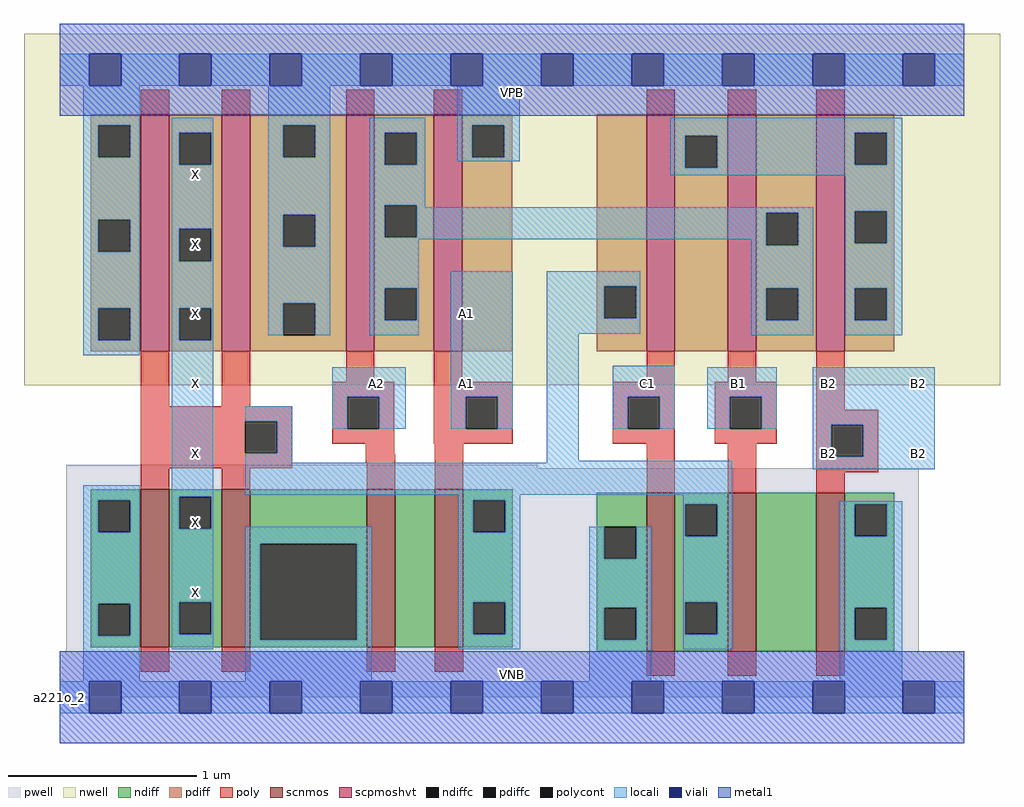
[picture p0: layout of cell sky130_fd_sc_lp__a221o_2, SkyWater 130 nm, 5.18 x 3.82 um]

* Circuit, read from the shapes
.subckt sky130_fd_sc_lp__a221o_2 A1 A2 B1 B2 C1 VGND VNB VPB VPWR X
XM1 X n1 VGND VNB sky130_fd_pr__nfet_01v8 w=0.84 l=0.15 m=2
XM2 n2 A2 VGND VNB sky130_fd_pr__nfet_01v8 w=0.84 l=0.15
XM3 n1 A1 n2 VNB sky130_fd_pr__nfet_01v8 w=0.84 l=0.15
XM4 n1 C1 VGND VNB sky130_fd_pr__nfet_01v8 w=0.84 l=0.15
XM5 n3 B1 n1 VNB sky130_fd_pr__nfet_01v8 w=0.84 l=0.15
XM6 VGND B2 n3 VNB sky130_fd_pr__nfet_01v8 w=0.84 l=0.15
XM7 X n1 VPWR VPB sky130_fd_pr__pfet_01v8_hvt w=1.26 l=0.15 m=2
XM8 n4 A2 VPWR VPB sky130_fd_pr__pfet_01v8_hvt w=1.26 l=0.15
XM9 VPWR A1 n4 VPB sky130_fd_pr__pfet_01v8_hvt w=1.26 l=0.15
XM10 n5 C1 n1 VPB sky130_fd_pr__pfet_01v8_hvt w=1.26 l=0.15
XM11 n4 B1 n5 VPB sky130_fd_pr__pfet_01v8_hvt w=1.26 l=0.15
XM12 n5 B2 n4 VPB sky130_fd_pr__pfet_01v8_hvt w=1.26 l=0.15
.ends

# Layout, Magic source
magic
tech sky130A
magscale 1 2
<< nwell >>
rect -38 331 998 704
<< pwell >>
rect 7 243 507 247
rect 7 49 912 243
rect 0 0 960 49
<< scnmos >>
rect 86 53 116 221
rect 172 53 202 221
rect 326 53 356 221
rect 398 53 428 221
rect 623 49 653 217
rect 709 49 739 217
rect 803 49 833 217
<< scpmoshvt >>
rect 86 367 116 619
rect 172 367 202 619
rect 304 367 334 619
rect 397 367 427 619
rect 623 367 653 619
rect 709 367 739 619
rect 803 367 833 619
<< ndiff >>
rect 33 209 86 221
rect 33 175 41 209
rect 75 175 86 209
rect 33 99 86 175
rect 33 65 41 99
rect 75 65 86 99
rect 33 53 86 65
rect 116 213 172 221
rect 116 179 127 213
rect 161 179 172 213
rect 116 101 172 179
rect 116 67 127 101
rect 161 67 172 101
rect 116 53 172 67
rect 202 163 326 221
rect 202 61 213 163
rect 315 61 326 163
rect 202 53 326 61
rect 356 53 398 221
rect 428 209 481 221
rect 428 175 439 209
rect 473 175 481 209
rect 428 101 481 175
rect 428 67 439 101
rect 473 67 481 101
rect 428 53 481 67
rect 570 181 623 217
rect 570 147 578 181
rect 612 147 623 181
rect 570 95 623 147
rect 570 61 578 95
rect 612 61 623 95
rect 570 49 623 61
rect 653 205 709 217
rect 653 171 664 205
rect 698 171 709 205
rect 653 101 709 171
rect 653 67 664 101
rect 698 67 709 101
rect 653 49 709 67
rect 739 49 803 217
rect 833 205 886 217
rect 833 171 844 205
rect 878 171 886 205
rect 833 95 886 171
rect 833 61 844 95
rect 878 61 886 95
rect 833 49 886 61
<< pdiff >>
rect 33 607 86 619
rect 33 573 41 607
rect 75 573 86 607
rect 33 507 86 573
rect 33 473 41 507
rect 75 473 86 507
rect 33 413 86 473
rect 33 379 41 413
rect 75 379 86 413
rect 33 367 86 379
rect 116 599 172 619
rect 116 565 127 599
rect 161 565 172 599
rect 116 497 172 565
rect 116 463 127 497
rect 161 463 172 497
rect 116 413 172 463
rect 116 379 127 413
rect 161 379 172 413
rect 116 367 172 379
rect 202 607 304 619
rect 202 573 237 607
rect 271 573 304 607
rect 202 512 304 573
rect 202 478 237 512
rect 271 478 304 512
rect 202 418 304 478
rect 202 384 237 418
rect 271 384 304 418
rect 202 367 304 384
rect 334 599 397 619
rect 334 565 345 599
rect 379 565 397 599
rect 334 522 397 565
rect 334 488 345 522
rect 379 488 397 522
rect 334 434 397 488
rect 334 400 345 434
rect 379 400 397 434
rect 334 367 397 400
rect 427 607 480 619
rect 427 573 438 607
rect 472 573 480 607
rect 427 367 480 573
rect 570 436 623 619
rect 570 402 578 436
rect 612 402 623 436
rect 570 367 623 402
rect 653 596 709 619
rect 653 562 664 596
rect 698 562 709 596
rect 653 367 709 562
rect 739 514 803 619
rect 739 480 750 514
rect 784 480 803 514
rect 739 434 803 480
rect 739 400 750 434
rect 784 400 803 434
rect 739 367 803 400
rect 833 599 886 619
rect 833 565 844 599
rect 878 565 886 599
rect 833 516 886 565
rect 833 482 844 516
rect 878 482 886 516
rect 833 434 886 482
rect 833 400 844 434
rect 878 400 886 434
rect 833 367 886 400
<< ndiffc >>
rect 41 175 75 209
rect 41 65 75 99
rect 127 179 161 213
rect 127 67 161 101
rect 213 61 315 163
rect 439 175 473 209
rect 439 67 473 101
rect 578 147 612 181
rect 578 61 612 95
rect 664 171 698 205
rect 664 67 698 101
rect 844 171 878 205
rect 844 61 878 95
<< pdiffc >>
rect 41 573 75 607
rect 41 473 75 507
rect 41 379 75 413
rect 127 565 161 599
rect 127 463 161 497
rect 127 379 161 413
rect 237 573 271 607
rect 237 478 271 512
rect 237 384 271 418
rect 345 565 379 599
rect 345 488 379 522
rect 345 400 379 434
rect 438 573 472 607
rect 578 402 612 436
rect 664 562 698 596
rect 750 480 784 514
rect 750 400 784 434
rect 844 565 878 599
rect 844 482 878 516
rect 844 400 878 434
<< poly >>
rect 86 619 116 645
rect 172 619 202 645
rect 304 619 334 645
rect 397 619 427 645
rect 623 619 653 645
rect 709 619 739 645
rect 803 619 833 645
rect 86 309 116 367
rect 172 309 202 367
rect 304 335 334 367
rect 397 335 427 367
rect 623 335 653 367
rect 709 335 739 367
rect 289 319 355 335
rect 86 293 247 309
rect 86 259 197 293
rect 231 259 247 293
rect 289 285 305 319
rect 339 285 355 319
rect 289 269 355 285
rect 397 319 481 335
rect 397 285 431 319
rect 465 285 481 319
rect 397 269 481 285
rect 587 319 653 335
rect 587 285 603 319
rect 637 285 653 319
rect 587 269 653 285
rect 695 319 761 335
rect 695 285 711 319
rect 745 285 761 319
rect 695 269 761 285
rect 803 305 833 367
rect 803 289 869 305
rect 86 243 247 259
rect 325 258 355 269
rect 325 249 356 258
rect 86 221 116 243
rect 172 221 202 243
rect 326 221 356 249
rect 398 221 428 269
rect 623 217 653 269
rect 709 217 739 269
rect 803 255 819 289
rect 853 255 869 289
rect 803 239 869 255
rect 803 217 833 239
rect 86 27 116 53
rect 172 27 202 53
rect 326 27 356 53
rect 398 27 428 53
rect 623 23 653 49
rect 709 23 739 49
rect 803 23 833 49
<< polycont >>
rect 197 259 231 293
rect 305 285 339 319
rect 431 285 465 319
rect 603 285 637 319
rect 711 285 745 319
rect 819 255 853 289
<< locali >>
rect 0 649 31 683
rect 65 649 127 683
rect 161 649 223 683
rect 257 649 319 683
rect 353 649 415 683
rect 449 649 511 683
rect 545 649 607 683
rect 641 649 703 683
rect 737 649 799 683
rect 833 649 895 683
rect 929 649 960 683
rect 25 607 85 649
rect 25 573 41 607
rect 75 573 85 607
rect 25 507 85 573
rect 25 473 41 507
rect 75 473 85 507
rect 25 413 85 473
rect 25 379 41 413
rect 75 379 85 413
rect 25 363 85 379
rect 119 599 163 615
rect 119 565 127 599
rect 161 565 163 599
rect 119 497 163 565
rect 119 463 127 497
rect 161 463 163 497
rect 119 413 163 463
rect 119 379 127 413
rect 161 379 163 413
rect 221 607 287 649
rect 221 573 237 607
rect 271 573 287 607
rect 221 512 287 573
rect 221 478 237 512
rect 271 478 287 512
rect 221 418 287 478
rect 221 384 237 418
rect 271 384 287 418
rect 329 599 388 615
rect 329 565 345 599
rect 379 565 388 599
rect 422 607 488 649
rect 422 573 438 607
rect 472 573 488 607
rect 422 569 488 573
rect 648 599 894 615
rect 648 596 844 599
rect 329 522 388 565
rect 648 562 664 596
rect 698 565 844 596
rect 878 565 894 599
rect 698 562 894 565
rect 648 554 894 562
rect 329 488 345 522
rect 379 520 388 522
rect 379 514 800 520
rect 379 488 750 514
rect 329 486 750 488
rect 329 434 381 486
rect 734 480 750 486
rect 784 480 800 514
rect 329 400 345 434
rect 379 400 381 434
rect 329 384 381 400
rect 25 209 85 225
rect 25 175 41 209
rect 75 175 85 209
rect 25 99 85 175
rect 25 65 41 99
rect 75 65 85 99
rect 25 17 85 65
rect 119 213 163 379
rect 289 319 367 350
rect 197 293 247 309
rect 231 259 247 293
rect 289 285 305 319
rect 339 285 367 319
rect 415 319 481 452
rect 415 285 431 319
rect 465 285 481 319
rect 517 436 616 452
rect 517 402 578 436
rect 612 402 616 436
rect 517 386 616 402
rect 734 434 800 480
rect 734 400 750 434
rect 784 400 800 434
rect 197 249 247 259
rect 517 251 551 386
rect 734 384 800 400
rect 834 516 894 554
rect 834 482 844 516
rect 878 482 894 516
rect 834 434 894 482
rect 834 400 844 434
rect 878 400 894 434
rect 834 384 894 400
rect 587 319 653 352
rect 587 285 603 319
rect 637 285 653 319
rect 687 319 761 350
rect 687 285 711 319
rect 745 285 761 319
rect 799 289 929 350
rect 799 255 819 289
rect 853 255 929 289
rect 517 249 714 251
rect 197 215 714 249
rect 799 242 929 255
rect 119 179 127 213
rect 161 179 163 213
rect 423 209 489 215
rect 119 101 163 179
rect 119 67 127 101
rect 161 67 163 101
rect 119 51 163 67
rect 197 163 331 181
rect 197 61 213 163
rect 315 61 331 163
rect 197 17 331 61
rect 423 175 439 209
rect 473 175 489 209
rect 662 205 714 215
rect 423 101 489 175
rect 423 67 439 101
rect 473 67 489 101
rect 423 51 489 67
rect 562 147 578 181
rect 612 147 628 181
rect 562 95 628 147
rect 562 61 578 95
rect 612 61 628 95
rect 562 17 628 61
rect 662 171 664 205
rect 698 171 714 205
rect 662 101 714 171
rect 662 67 664 101
rect 698 67 714 101
rect 662 51 714 67
rect 828 205 894 208
rect 828 171 844 205
rect 878 171 894 205
rect 828 95 894 171
rect 828 61 844 95
rect 878 61 894 95
rect 828 17 894 61
rect 0 -17 31 17
rect 65 -17 127 17
rect 161 -17 223 17
rect 257 -17 319 17
rect 353 -17 415 17
rect 449 -17 511 17
rect 545 -17 607 17
rect 641 -17 703 17
rect 737 -17 799 17
rect 833 -17 895 17
rect 929 -17 960 17
<< viali >>
rect 31 649 65 683
rect 127 649 161 683
rect 223 649 257 683
rect 319 649 353 683
rect 415 649 449 683
rect 511 649 545 683
rect 607 649 641 683
rect 703 649 737 683
rect 799 649 833 683
rect 895 649 929 683
rect 31 -17 65 17
rect 127 -17 161 17
rect 223 -17 257 17
rect 319 -17 353 17
rect 415 -17 449 17
rect 511 -17 545 17
rect 607 -17 641 17
rect 703 -17 737 17
rect 799 -17 833 17
rect 895 -17 929 17
<< metal1 >>
rect 0 683 960 715
rect 0 649 31 683
rect 65 649 127 683
rect 161 649 223 683
rect 257 649 319 683
rect 353 649 415 683
rect 449 649 511 683
rect 545 649 607 683
rect 641 649 703 683
rect 737 649 799 683
rect 833 649 895 683
rect 929 649 960 683
rect 0 617 960 649
rect 0 17 960 49
rect 0 -17 31 17
rect 65 -17 127 17
rect 161 -17 223 17
rect 257 -17 319 17
rect 353 -17 415 17
rect 449 -17 511 17
rect 545 -17 607 17
rect 641 -17 703 17
rect 737 -17 799 17
rect 833 -17 895 17
rect 929 -17 960 17
rect 0 -49 960 -17
<< labels >>
flabel pwell s 0 0 960 49 0 FreeSans 200 0 0 0 VNB
port 7 nsew ground bidirectional
flabel nwell s 0 617 960 666 0 FreeSans 200 0 0 0 VPB
port 8 nsew power bidirectional
rlabel comment s 0 0 0 0 4 a221o_2
flabel metal1 s 0 617 960 666 0 FreeSans 340 0 0 0 VPWR
port 9 nsew power bidirectional
flabel metal1 s 0 0 960 49 0 FreeSans 340 0 0 0 VGND
port 6 nsew ground bidirectional
flabel locali s 127 94 161 128 0 FreeSans 340 0 0 0 X
port 10 nsew signal output
flabel locali s 127 168 161 202 0 FreeSans 340 0 0 0 X
port 10 nsew signal output
flabel locali s 127 242 161 276 0 FreeSans 340 0 0 0 X
port 10 nsew signal output
flabel locali s 127 316 161 350 0 FreeSans 340 0 0 0 X
port 10 nsew signal output
flabel locali s 127 390 161 424 0 FreeSans 340 0 0 0 X
port 10 nsew signal output
flabel locali s 127 464 161 498 0 FreeSans 340 0 0 0 X
port 10 nsew signal output
flabel locali s 127 538 161 572 0 FreeSans 340 0 0 0 X
port 10 nsew signal output
flabel locali s 319 316 353 350 0 FreeSans 340 0 0 0 A2
port 2 nsew signal input
flabel locali s 703 316 737 350 0 FreeSans 340 0 0 0 B1
port 3 nsew signal input
flabel locali s 415 316 449 350 0 FreeSans 340 0 0 0 A1
port 1 nsew signal input
flabel locali s 415 390 449 424 0 FreeSans 340 0 0 0 A1
port 1 nsew signal input
flabel locali s 799 242 833 276 0 FreeSans 340 0 0 0 B2
port 4 nsew signal input
flabel locali s 799 316 833 350 0 FreeSans 340 0 0 0 B2
port 4 nsew signal input
flabel locali s 895 242 929 276 0 FreeSans 340 0 0 0 B2
port 4 nsew signal input
flabel locali s 895 316 929 350 0 FreeSans 340 0 0 0 B2
port 4 nsew signal input
flabel locali s 607 316 641 350 0 FreeSans 340 0 0 0 C1
port 5 nsew signal input
<< properties >>
string LEFsite unit
string LEFclass CORE
string FIXED_BBOX 0 0 960 666
string GDS_FILE $PDKPATH/libs.ref/sky130_fd_sc_lp/gds/sky130_fd_sc_lp.gds
string LEFsymmetry X Y R90
string GDS_END 6041596
string GDS_START 6032222
<< end >>
